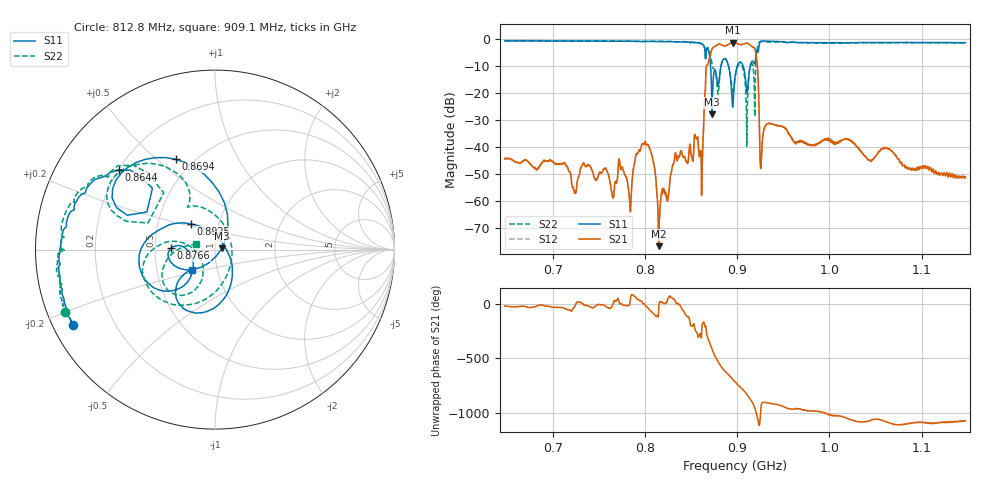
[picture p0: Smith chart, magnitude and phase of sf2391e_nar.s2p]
# Hz S RI R 50
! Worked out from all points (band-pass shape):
!   1601 points, 647.5 MHz to 1.147 GHz, reference 50 ohm
!   highest |S21| = -1.35 dB at 895.3 MHz (marker M1); lowest = -76.7 dB at 814.7 MHz (marker M2)
!   |S21| within 3 dB of the highest: 871.9 MHz to 919.6 MHz (47.75 MHz wide, 5.33 % of centre)
!   lowest |S11| = -27.9 dB at 872.5 MHz (marker M3), VSWR 1.08, Z = 54.1 + j0.825 ohm
!   |S11| at or under -10 dB: 871 MHz to 882.3 MHz (11.34 MHz wide, 1.29 % of centre); 890.4 MHz to 900 MHz (9.529 MHz wide, 1.06 % of centre); 906.3 MHz to 914 MHz (7.728 MHz wide, 0.849 % of centre)
!   |S22| runs from -39.8 to -0.6 dB; largest |S21 - S12| = 0.0053
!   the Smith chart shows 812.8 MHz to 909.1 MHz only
!   S11 on the Smith chart (normalised r, x): 812.8 MHz: 0.06, -0.25; 864.4 MHz: 0.20, +0.35; 869.4 MHz: 0.40, +0.58; 876.6 MHz: 0.61, +0.01; 892.5 MHz: 0.74, +0.22; 909.1 MHz: 0.75, -0.17
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6.475e8  -0.4153 -0.8162  0.00564 -0.00211  0.00572 -0.00208  -0.4918 -0.7906
7.309375e8  -0.6026 -0.6783  0.0043 0.000474  0.00434 0.000497  -0.6724 -0.6245
7.834375e8  -0.7243 -0.5409  0.000783 0.000121  0.000857 -6.77e-06  -0.7738 -0.4772
8.015625e8  -0.7606 -0.4664  0.00998 -0.00463  0.00981 -0.0045  -0.8048 -0.4105
8.128125e8  -0.7916 -0.4217  -0.000526 -0.00118  -0.000593 -0.00114  -0.8343 -0.3468
8.14375e8  -0.7934 -0.4141  -5.55e-05 -0.000272  -4.12e-05 -0.000299  -0.8395 -0.3409
8.146875e8  -0.7969 -0.4094  9.9e-05 -0.000107  0.00016 -0.000175  -0.8358 -0.3374
8.603125e8  -0.7862 0.2377  0.00228 0.00836  0.00228 0.00826  -0.7829 0.2908
8.64375e8  -0.5365 0.4442  -0.0691 0.0104  -0.0695 0.0107  -0.5416 0.4669
8.69375e8  -0.2169 0.5027  0.399 0.1051  0.3993 0.1057  -0.4208 0.4754
8.725e8  0.0394 0.00762  0.3719 -0.5286  0.372 -0.5292  -0.1403 0.3111
8.765625e8  -0.2452 0.00813  -0.4971 -0.5557  -0.4962 -0.5553  -0.0502 0.2256
8.925e8  -0.1326 0.143  0.5304 0.6344  0.5317 0.6334  -0.2078 0.0448
8.953125e8  0.0597 0.00731  0.7885 0.3345  0.7864 0.3318  -0.08 -0.0519
8.975e8  0.0929 -0.1706  0.8444 0.0308  0.8442 0.0322  -0.0749 -0.1728
9.090625e8  -0.1295 -0.1109  -0.0956 -0.822  -0.0966 -0.8206  -0.1077 0.0301
9.153125e8  0.1084 -0.356  -0.7226 -0.1005  -0.7217 -0.1009  0.0218 -0.3472
9.2e8  0.2398 -0.3876  -0.025 0.5646  -0.0273 0.566  0.3145 0.00707
9.265625e8  0.0175 -0.9055  -0.00915 0.0022  -0.00914 0.00228  0.0341 -0.9045
9.809375e8  -0.6456 -0.5627  -0.00119 0.0109  -0.0012 0.0109  -0.6709 -0.5117
1.064375e9  -0.7717 -0.3726  0.00905 -0.00178  0.00904 -0.00165  -0.7852 -0.3094
1.1475e9  -0.8278 -0.1992  0.00274 0.000206  0.00268 0.000347  -0.8294 -0.1403
